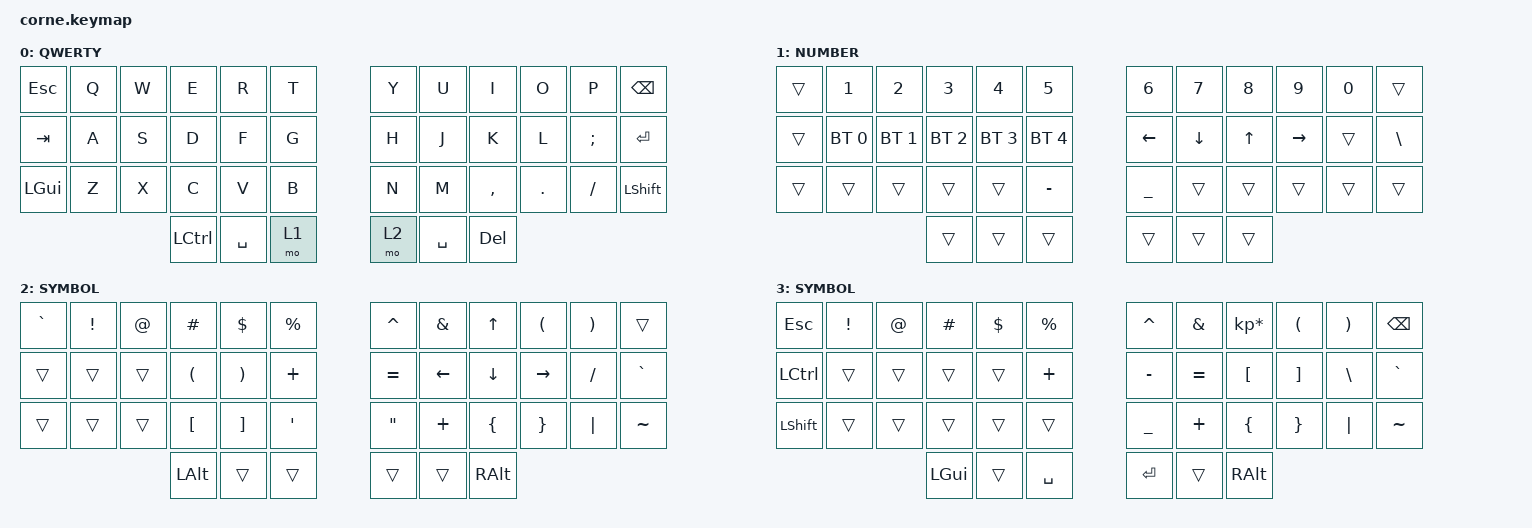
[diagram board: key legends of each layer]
/*
 * Copyright (c) 2020 The ZMK Contributors
 *
 * SPDX-License-Identifier: MIT
 */

#include <behaviors.dtsi>
#include <dt-bindings/zmk/keys.h>
#include <dt-bindings/zmk/bt.h>

/ {
        keymap {
                compatible = "zmk,keymap";

                default_layer {
                        label = "QWERTY";
// -----------------------------------------------------------------------------------------
// |  ESC |  Q  |  W  |  E  |  R  |  T  |   |  Y  |  U   |  I  |  O  |  P  | BKSP |
// |  TAB |  A  |  S  |  D  |  F  |  G  |   |  H  |  J   |  K  |  L  |  ;  |  RET |
// | LGUI |  Z  |  X  |  C  |  V  |  B  |   |  N  |  M   |  ,  |  .  |  /  | ESC  |
//                    | LCTRL | LWR | SPC |   | ENT | RSE  | ALT |
                        bindings = <
   &kp ESC  &kp Q &kp W &kp E     &kp R     &kp T   &kp Y &kp U     &kp I     &kp O   &kp P    &kp BSPC
   &kp TAB  &kp A &kp S &kp D     &kp F     &kp G   &kp H &kp J     &kp K     &kp L   &kp SEMI &kp RET
   &kp LGUI &kp Z &kp X &kp C     &kp V     &kp B   &kp N &kp M     &kp COMMA &kp DOT &kp FSLH &kp LSHFT
                        &kp LCTRL &kp SPACE &mo 1   &mo 2 &kp SPACE &kp DEL
                        >;
                };

                lower_layer {
                        label = "NUMBER";
// -----------------------------------------------------------------------------------------
// |  ESC |  1  |  2  |  3  |  4  |  5  |   |  6  |  7  |  8  |  9  |  0  | BKSP |
// |  TAB | BT1 | BT2 | BT3 | BT4 | BT5 |   | LFT | DWN |  UP | RGT |     |      |
// | LGUI |     |     |     |     |     |   |     |     |     |     |     |      |
//                    | GUI |     | SPC |   | ENT |     | ALT |
                        bindings = <
   &trans    &kp N1       &kp N2       &kp N3       &kp N4       &kp N5         &kp N6    &kp N7   &kp N8 &kp N9    &kp N0 &trans
   &trans    &bt BT_SEL 0 &bt BT_SEL 1 &bt BT_SEL 2 &bt BT_SEL 3 &bt BT_SEL 4   &kp LEFT  &kp DOWN &kp UP &kp RIGHT &trans &kp BSLH
   &trans    &trans       &trans       &trans       &trans       &kp MINUS      &kp UNDER &trans   &trans &trans    &trans &trans
                          	       &trans       &trans       &trans         &trans    &trans   &trans
                        >;
                };

                raise_layer {
                        label = "SYMBOL";
// -----------------------------------------------------------------------------------------
// | GRAVE  |  !  |  @  |  #  |  $  |  %  |   |  ^  |  &   |  UP  |  (  |  )  | BKSP |
// | CTRL   |     |     |  (  |  )  |  +  |   |  -  |  LFT |  DWN  |  RGT  |  \  |  `   |
// | SHFT   |     |     |  [  |  ]  |  '  |   |  _  |  +   |  {  |  }  | "|" |  ~   |
//                    | GUI |     | SPC |   | ENT |      | ALT |
                        bindings = <
   &kp  GRAVE  &kp EXCL &kp AT &kp HASH &kp DLLR &kp PRCNT   &kp CARET &kp AMPS  &kp UP   &kp LPAR  &kp RPAR &trans
   &trans      &trans   &trans &kp LPAR &kp RPAR &kp PLUS    &kp EQUAL &kp LEFT  &kp DOWN &kp RIGHT &kp FSLH &kp GRAVE
   &trans      &trans   &trans &kp LBKT &kp RBKT &kp SQT     &kp DQT   &kp PLUS  &kp LBRC &kp RBRC  &kp PIPE &kp TILDE
                    	       &kp LALT &trans   &trans      &trans    &trans    &kp RALT
                        >;
                };

                adjust_layer {
                        label = "SYMBOL";
// -----------------------------------------------------------------------------------------
// |  ESC |  !  |  @  |  #  |  $  |  %  |   |  ^  |  &  |  *  |  (  |  )  | BKSP |
// | CTRL |     |     |     |     |     |   |  -  |  =  |  [  |  ]  |  \  |  `   |
// | SHFT |     |     |     |     |     |   |  _  |  +  |  {  |  }  | "|" |  ~   |
//                    | GUI |     | SPC |   | ENT |     | ALT |
                        bindings = <
   &kp  ESC  &kp EXCL &kp AT &kp HASH &kp DLLR &kp PRCNT   &kp CARET &kp AMPS  &kp KP_MULTIPLY &kp LPAR &kp RPAR &kp BSPC
   &kp LCTRL &trans   &trans &trans   &trans   &kp PLUS    &kp MINUS &kp EQUAL &kp LBKT        &kp RBKT &kp BSLH &kp GRAVE
   &kp LSHFT &trans   &trans &trans   &trans   &trans      &kp UNDER &kp PLUS  &kp LBRC        &kp RBRC &kp PIPE &kp TILDE
                    	     &kp LGUI &trans   &kp SPACE   &kp RET   &trans    &kp RALT
                        >;
                };

                extra_1 {
                        status = "reserved";
                };

                extra_2 {
                        status = "reserved";
                };

                extra_3 {
                        status = "reserved";
                };
        };
};

/ {
    conditional_layers {
        compatible = "zmk,conditional-layers";
        tri_layer {
            if-layers = <1 2>;
            then-layer = <3>;
        };
    };
};
